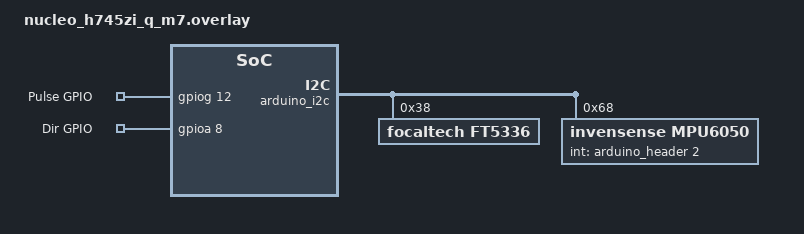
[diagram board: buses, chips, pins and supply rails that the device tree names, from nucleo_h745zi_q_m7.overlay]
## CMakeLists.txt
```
# SPDX-License-Identifier: Apache-2.0

# Re-direct the directory where the 'boards' directory is found from
# $ZEPHYR_BASE to this directory.
# set(BOARD_ROOT ${CMAKE_CURRENT_LIST_DIR})


set(BOARD nucleo_h745zi_q_m7)
set(SHIELD ssd1306_128x64)

cmake_minimum_required(VERSION 3.13.1)

find_package(Zephyr REQUIRED HINTS $ENV{ZEPHYR_BASE})
project(h745zi_q)


FILE(GLOB app_sources src/*.cpp)
target_sources(app PRIVATE ${app_sources})
```

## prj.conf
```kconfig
CONFIG_HEAP_MEM_POOL_SIZE=16384
CONFIG_MAIN_STACK_SIZE=2048

CONFIG_CONSOLE_SUBSYS=y
CONFIG_CONSOLE_GETLINE=y

CONFIG_DISPLAY=y
CONFIG_DISPLAY_LOG_LEVEL_ERR=y

CONFIG_LOG=y

CONFIG_I2C=y
CONFIG_SPI=y

CONFIG_ILI9340=y
CONFIG_LVGL=y
CONFIG_LVGL_USE_LABEL=y
CONFIG_LVGL_USE_CONT=y
CONFIG_LVGL_USE_BTN=y
CONFIG_LVGL_USE_THEME_MATERIAL=y
# CONFIG_LVGL_DISPLAY_DEV_NAME="SSD1306"
# CONFIG_SHIELD_SSD1306_128X64=y

# CONFIG_LVGL_HOR_RES_MAX=128
# CONFIG_LVGL_VER_RES_MAX=64
# CONFIG_LVGL_VDB_SIZE=64
# CONFIG_LVGL_DPI=148
# CONFIG_LVGL_BITS_PER_PIXEL=1
# CONFIG_LVGL_COLOR_DEPTH=LVGL_COLOR_DEPTH_1

CONFIG_SENSOR=y
CONFIG_MPU6050=y
CONFIG_MPU6050_TRIGGER_NONE=y
CONFIG_CBPRINTF_FP_SUPPORT=y

# CONFIG_BMI160=y

CONFIG_NET_CONFIG_AUTO_INIT=y
```

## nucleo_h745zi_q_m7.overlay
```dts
/*
 * Copyright (c) 2019 PHYTEC Messtechnik GmbH
 *
 * SPDX-License-Identifier: Apache-2.0
 */
 / {
	gpio_keys {
		compatible = "gpio-keys";
		pulse_gpio: pulse_gpio {
			gpios = <&gpiog 12 GPIO_ACTIVE_HIGH>; /* D7 */
			label = "Pulse GPIO";
		};
		dir_gpio: dir_gpio {
			gpios = <&gpioa 8 GPIO_ACTIVE_HIGH>; /* D6 */
			label = "Dir GPIO";
		};
	};
	aliases {
		// led0 = &green_led;
		led1 = &yellow_led;
		pulse = &pulse_gpio;
        dir = &dir_gpio;
	};
};

&arduino_i2c {
	status = "okay";
	touch_controller: ft5336@38 {
		compatible = "focaltech,ft5336";
		reg = <0x38>;
		label = "FT5336";
		/* Uncomment if IRQ line is available (requires to solder jumper) */
		/* int-gpios = <&arduino_header 13 GPIO_ACTIVE_LOW>; */ /* D7 */
	};

	mpu6050@68 {
		compatible = "invensense,mpu6050";
		reg = <0x68>;
		status = "okay";
		label = "MPU6050";
		int-gpios = <&arduino_header 2 GPIO_ACTIVE_HIGH>; /* D7 */
	};
};

// &i2c2 {
// 	status = "okay";
// };
```

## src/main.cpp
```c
/*
 * Copyright (c) 2018 Google LLC.
 *
 * SPDX-License-Identifier: Apache-2.0
 */

/*
 * This is mainly a parse test that verifies that Zephyr header files
 * compile in C++ mode.
 */

#include <string.h>
#include <zephyr.h>
#include <zephyr/types.h>
#include <stdbool.h>
#include <stdio.h>
#include <stdlib.h>

#include <init.h>
#include <device.h>
#include <kernel.h>
#include <net/buf.h>
#include <sys/byteorder.h>
#include <sys/crc.h>
#include <sys/crc.h>
#include <sys/printk.h>

#include <console/console.h>

#include <lvgl.h>

#include <drivers/display.h>
#include <drivers/sensor.h>
#include <drivers/gpio.h>
// #include <drivers/led_strip.h>
// #include <drivers/spi.h>
// #include <drivers/uart.h>
// #include <usb/usb_device.h>
// #include <usb/class/usb_hid.h>
// #include <drivers/watchdog.h>

#define LOG_LEVEL CONFIG_LOG_DEFAULT_LEVEL
#include <logging/log.h>
LOG_MODULE_REGISTER(app);

/* size of stack area used by each thread */
#define STACKSIZE 8192
/* scheduling priority used by each thread */
#define PRIORITY 7
/* delay between updates (in ms) */
#define SLEEPTIME 500

K_SEM_DEFINE(threadRail_sem, 1, 1);

class GyroWaiter {
	const struct device *mpu6050;
	lv_obj_t *label;
	int num_of_samples = 4;
	double boundary = 0.1 * num_of_samples;
	int sleep_msec = 50;
public:
	GyroWaiter() {
		label = lv_label_create(lv_scr_act(), NULL);
		lv_obj_align(label, NULL, LV_ALIGN_CENTER, 0, 0);

		const char *const mpu_label = DT_LABEL(DT_INST(0, invensense_mpu6050));
		mpu6050 = device_get_binding(mpu_label);
	};
	int wait() {
		char gyro_str[40] = {0};
		struct sensor_value gyro[3];

		double cyclic_buffer[num_of_samples * 3] = {
			1,1,1
		};
		int idx = 1;
		int count = 0;
		int bail_count = 40;
		int rc = 0;

		printk("wait for semathor...\n");
		k_sem_take(&threadRail_sem, K_FOREVER);
		printk("wait for stall...\n");
		while (1) {
			rc = sensor_sample_fetch(mpu6050);
			if (rc == 0) {
				rc = sensor_channel_get(mpu6050, SENSOR_CHAN_GYRO_XYZ, gyro);
			}
			if (rc != 0) {
				break;
			}
			sprintf(gyro_str, "%f\n%f\n%f",
					sensor_value_to_double(&gyro[0]),
					sensor_value_to_double(&gyro[1]),
					sensor_value_to_double(&gyro[2])
					);
			printk("... %s\n", gyro_str);
			if (label) {
				lv_label_set_text(label, gyro_str);
				lv_obj_align(label, NULL, LV_ALIGN_CENTER, 0, 0);
			}

			cyclic_buffer[idx * 3] = sensor_value_to_double(&gyro[0]);
			cyclic_buffer[idx * 3 + 1] = sensor_value_to_double(&gyro[1]);
			cyclic_buffer[idx * 3 + 2] = sensor_value_to_double(&gyro[2]);

			double sum = 0;
			for(int i=0; i < num_of_samples * 3; i++) {
				if (cyclic_buffer[i] > 0) {
					sum += cyclic_buffer[i];
				} else {
					sum -= cyclic_buffer[i];
				}
			}

			printk("... %i:sum = %f ...\n", count, sum);
			if (sum < boundary) {
				printk("... stalled\n");
				break;
			}

			if (count > bail_count) {
				printk("... bail count exceeded: %i > %i\n", count, bail_count);
				rc = -1;
				break;
			}

			idx = (++idx) % num_of_samples;
			k_sleep(K_MSEC(sleep_msec));
			++count;
		}
		k_sem_give(&threadRail_sem);
		return rc;
	};
};

#define LED0_NODE DT_ALIAS(led0)
#define LED0	DT_GPIO_LABEL(LED0_NODE, gpios)
#define LED0_PIN	DT_GPIO_PIN(LED0_NODE, gpios)
#define LED0_FLAGS	DT_GPIO_FLAGS(LED0_NODE, gpios)
#define LED1_NODE DT_ALIAS(led1)
#define LED1	DT_GPIO_LABEL(LED1_NODE, gpios)
#define LED1_PIN	DT_GPIO_PIN(LED1_NODE, gpios)
#define LED1_FLAGS	DT_GPIO_FLAGS(LED1_NODE, gpios)

#define PULSE_NODE DT_ALIAS(pulse)
#define PULSE	DT_GPIO_LABEL(PULSE_NODE, gpios)
#define PULSE_PIN	DT_GPIO_PIN(PULSE_NODE, gpios)
#define PULSE_FLAGS	DT_GPIO_FLAGS(PULSE_NODE, gpios)
#define DIR_NODE DT_ALIAS(dir)
#define DIR	DT_GPIO_LABEL(DIR_NODE, gpios)
#define DIR_PIN	DT_GPIO_PIN(DIR_NODE, gpios)
#define DIR_FLAGS	DT_GPIO_FLAGS(DIR_NODE, gpios)
class Rail {
	int pos = 0;
	int target_pos = 0;
	lv_obj_t *label;
	int sleep_msec = 1;
	bool current_to_left = true;
	const struct device* led0_dev = device_get_binding(LED0);
	const struct device* led1_dev = device_get_binding(LED1);
	const struct device* pulse_dev = device_get_binding(PULSE);
	const struct device* dir_dev = device_get_binding(DIR);

	void flip_dir() {
		current_to_left = !current_to_left;
	};
	void set_dir(bool to_left) {
		if (to_left) {
			gpio_pin_set(led0_dev, LED0_PIN, true);
			gpio_pin_set(led1_dev, LED1_PIN, false);
		} else {
			gpio_pin_set(led0_dev, LED0_PIN, false);
			gpio_pin_set(led1_dev, LED1_PIN, true);
		}
		if (to_left != current_to_left) {
			// gpio_pin_set(dir_dev, DIR_PIN, to_left);
			current_to_left = to_left;
		}

	}
	void step(bool to_left) {
		k_sem_take(&threadRail_sem, K_FOREVER);
		set_dir(to_left);
		// gpio_pin_set(pulse_dev, PULSE_PIN, true);
		// k_sleep(K_MSEC(10));
		// gpio_pin_set(pulse_dev, PULSE_PIN, false);
		// k_sleep(K_MSEC(10));
		if (to_left) {
			++pos;
		} else {
			--pos;
		}
		k_sem_give(&threadRail_sem);
		print_to_label();
	};
	bool is_in_pos() {
		return pos == target_pos;
	}
	void run_to_target() {
		while(1) {
			if (pos < target_pos) {
				step(true);
			} else if (pos > target_pos) {
				step(false);
			} else {
				gpio_pin_set(led0_dev, LED0_PIN, false);
				gpio_pin_set(led1_dev, LED1_PIN, false);
				break;
			}
			k_sleep(K_MSEC(sleep_msec));
		}
	}
	void print_to_label() {
		char pos_str[21] = {0};
		sprintf(pos_str, "%i > %i", target_pos, pos);
		lv_label_set_text(label, pos_str);
		lv_task_handler();
	}
public:
	Rail() {
		if (led0_dev != NULL) {
			int ret = gpio_pin_configure(led0_dev, LED0_PIN, GPIO_OUTPUT_ACTIVE | LED0_FLAGS);
			if (ret == 0) {
				gpio_pin_set(led0_dev, LED0_PIN, true);
				k_msleep(100);
				gpio_pin_set(led0_dev, LED0_PIN, false);
			}
		}
		if (led1_dev != NULL) {
			int ret = gpio_pin_configure(led1_dev, LED1_PIN, GPIO_OUTPUT_ACTIVE | LED1_FLAGS);
			if (ret == 0) {
				gpio_pin_set(led1_dev, LED1_PIN, true);
				k_msleep(100);
				gpio_pin_set(led1_dev, LED1_PIN, false);
			}
		}

		// if (pulse_dev != NULL) {
		// 	int ret = gpio_pin_configure(pulse_dev, PULSE_PIN, GPIO_OUTPUT_ACTIVE | PULSE_FLAGS);
		// }
		// if (dir_dev != NULL) {
		// 	int ret = gpio_pin_configure(dir_dev, DIR_PIN, GPIO_OUTPUT_ACTIVE | DIR_FLAGS);
		// }



		label = lv_label_create(lv_scr_act(), NULL);
		lv_obj_align(label, NULL, LV_ALIGN_IN_BOTTOM_LEFT, 0, 0);
	};
	void loop() {
		while (1) {
			if (! is_in_pos()) {
				run_to_target();
			}
			print_to_label();
			k_sleep(K_MSEC(sleep_msec));
		}
	}
	int go(int relative) {
		target_pos += relative;
		print_to_label();
		return pos;
	};
};

K_THREAD_STACK_DEFINE(threadRail_stack_area, STACKSIZE);
static struct k_thread threadRail_data;
void threadRail(void *railV, void *dummy2, void *dummy3)
{
	ARG_UNUSED(dummy2);
	ARG_UNUSED(dummy3);
	Rail* rail = static_cast<Rail *>(railV);
	rail->loop();
}

#define CONSOLE_HELP  \
    "help\n"  \
    "----\n"  \
    "   s -> do a single shot\n" \
    "   $int -> move relative\n"
K_THREAD_STACK_DEFINE(threadConsole_stack_area, STACKSIZE);
static struct k_thread threadConsole_data;
void threadConsole(void *railV, void *waiterV, void *dummy3) {
	ARG_UNUSED(dummy3);
	Rail* rail = static_cast<Rail *>(railV);
	GyroWaiter* waiter = static_cast<GyroWaiter *>(waiterV);
	int rc = 0;

	printk(CONSOLE_HELP);
	while (1) {
		char *s = console_getline();
		printk("<-- %s\n", s);

		if (s[0] == 's') {
			rc = waiter->wait();
			if (rc != 0) {
				printk("!!! returned rc=%i", rc);
			}
		} else {
			int x = atoi(s);
			rail->go(x);
		}

		lv_task_handler();
		k_sleep(K_MSEC(10));
	}
}

void display_init() {
	const struct device *display_dev;
	display_dev = device_get_binding(CONFIG_LVGL_DISPLAY_DEV_NAME);

	if (display_dev == NULL) {
		LOG_ERR("device not found.  Aborting test.");
		return;
	}
	display_blanking_off(display_dev);
}

void main(void) {

	display_init();
	console_getline_init();
	GyroWaiter waiter;
	Rail rail;

	k_tid_t my_tid_console = k_thread_create(&threadConsole_data, threadConsole_stack_area,
			K_THREAD_STACK_SIZEOF(threadConsole_stack_area),
			threadConsole, &rail, &waiter, NULL,
			PRIORITY, 0, K_NO_WAIT);
	k_thread_name_set(&threadConsole_data, "thread_r");

	k_tid_t my_tid_rail = k_thread_create(&threadRail_data, threadRail_stack_area,
			K_THREAD_STACK_SIZEOF(threadRail_stack_area),
			threadRail, &rail, NULL, NULL,
			PRIORITY, 0, K_NO_WAIT);
	k_thread_name_set(&threadRail_data, "thread_r");

	k_thread_start(&threadConsole_data);
	k_thread_start(&threadRail_data);
}
```
